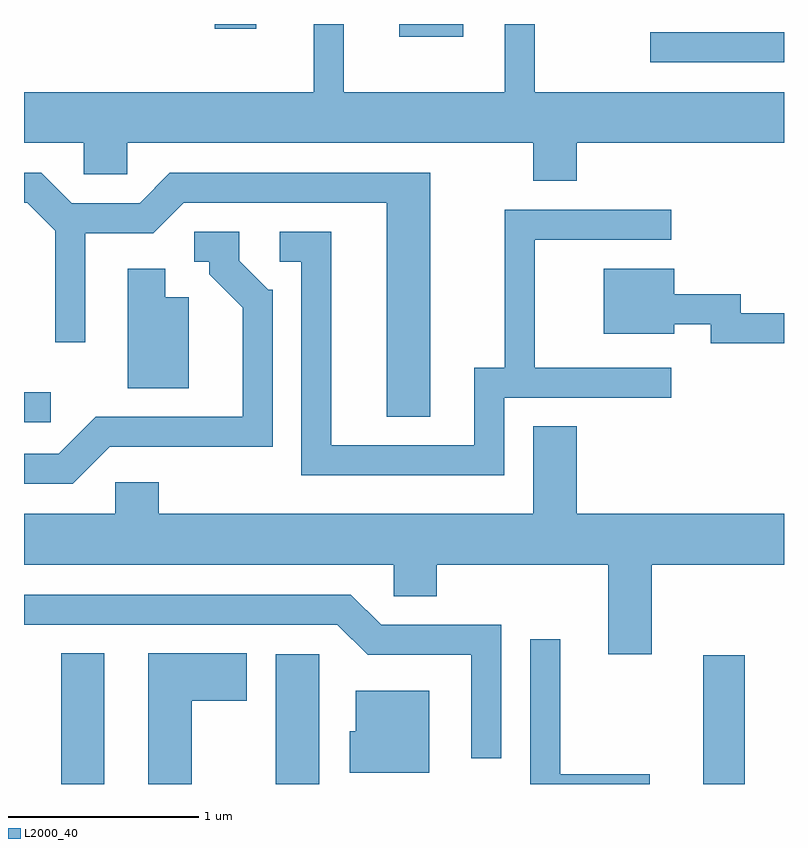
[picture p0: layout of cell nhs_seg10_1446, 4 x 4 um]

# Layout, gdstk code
import gdstk
lib = gdstk.Library(unit=1e-6, precision=1e-09)
def R(c, l, rs):  # rectangles x0, y0, x1, y1
    for r in rs: c.add(gdstk.rectangle(r[:2], r[2:], *l))
def P(c, l, *ps):  # polygons
    for p in ps: c.add(gdstk.Polygon(p, *l))
L2000_40 = (2000, 40)

nhs_seg10_1446 = lib.new_cell('nhs_seg10_1446')
R(nhs_seg10_1446, L2000_40, [(227.806,2130.522,228.034,2131.209), (228.936,2130.522,229.164,2131.204), (231.186,2130.522,231.404,2131.199), (227.611,2132.426,227.753,2132.584), (230.908,2134.321,231.611,2134.479), (229.586,2134.456,229.924,2134.522), (228.616,2134.496,228.834,2134.522)])
P(nhs_seg10_1446, L2000_40, [(230.519,2133.896),(231.611,2133.896),(231.611,2134.164),(230.299,2134.164),(230.299,2134.522),(230.141,2134.522),(230.141,2134.164),(229.294,2134.164),(229.294,2134.522),(229.136,2134.522),(229.136,2134.164),(227.611,2134.164),(227.611,2133.896),(227.926,2133.896),(227.926,2133.731),(228.154,2133.731),(228.154,2133.896),(230.291,2133.896),(230.291,2133.696),(230.519,2133.696)],
  [(229.749,2133.739),(228.379,2133.739),(228.219,2133.579),(227.862,2133.579),(227.702,2133.739),(227.611,2133.739),(227.611,2133.581),(227.629,2133.581),(227.776,2133.434),(227.776,2132.848),(227.934,2132.848),(227.934,2133.421),(228.292,2133.421),(228.452,2133.581),(229.521,2133.581),(229.521,2132.456),(229.749,2132.456)],
  [(230.139,2132.556),(231.018,2132.556),(231.018,2132.714),(230.299,2132.714),(230.299,2133.386),(231.018,2133.386),(231.018,2133.544),(230.141,2133.544),(230.141,2132.714),(229.981,2132.714),(229.981,2132.304),(229.229,2132.304),(229.229,2133.429),(228.958,2133.429),(228.958,2133.271),(229.071,2133.271),(229.071,2132.146),(230.139,2132.146)],
  [(228.062,2132.296),(228.919,2132.296),(228.919,2133.124),(228.897,2133.124),(228.744,2133.277),(228.744,2133.429),(228.508,2133.429),(228.508,2133.271),(228.586,2133.271),(228.586,2133.204),(228.761,2133.029),(228.761,2132.454),(227.989,2132.454),(227.794,2132.259),(227.611,2132.259),(227.611,2132.101),(227.867,2132.101)],
  [(231.611,2132.999),(231.384,2132.999),(231.384,2133.099),(231.034,2133.099),(231.034,2133.234),(230.661,2133.234),(230.661,2132.891),(231.034,2132.891),(231.034,2132.941),(231.226,2132.941),(231.226,2132.841),(231.611,2132.841)],
  [(228.479,2133.084),(228.354,2133.084),(228.354,2133.234),(228.156,2133.234),(228.156,2132.606),(228.479,2132.606)],
  [(230.914,2131.676),(231.611,2131.676),(231.611,2131.944),(230.519,2131.944),(230.519,2132.404),(230.291,2132.404),(230.291,2131.944),(228.319,2131.944),(228.319,2132.109),(228.091,2132.109),(228.091,2131.944),(227.611,2131.944),(227.611,2131.676),(229.556,2131.676),(229.556,2131.511),(229.784,2131.511),(229.784,2131.676),(230.686,2131.676),(230.686,2131.206),(230.914,2131.206)],
  [(230.124,2131.359),(229.492,2131.359),(229.332,2131.519),(227.611,2131.519),(227.611,2131.361),(229.259,2131.361),(229.419,2131.201),(229.966,2131.201),(229.966,2130.658),(230.124,2130.658)],
  [(230.904,2130.574),(230.434,2130.574),(230.434,2131.283),(230.276,2131.283),(230.276,2130.522),(230.904,2130.522)],
  [(228.494,2130.961),(228.784,2130.961),(228.784,2131.209),(228.266,2131.209),(228.266,2130.522),(228.494,2130.522)],
  [(229.744,2131.014),(229.356,2131.014),(229.356,2130.799),(229.326,2130.799),(229.326,2130.581),(229.744,2130.581)])

lib.write_gds('nhs_seg10_1446.gds')
